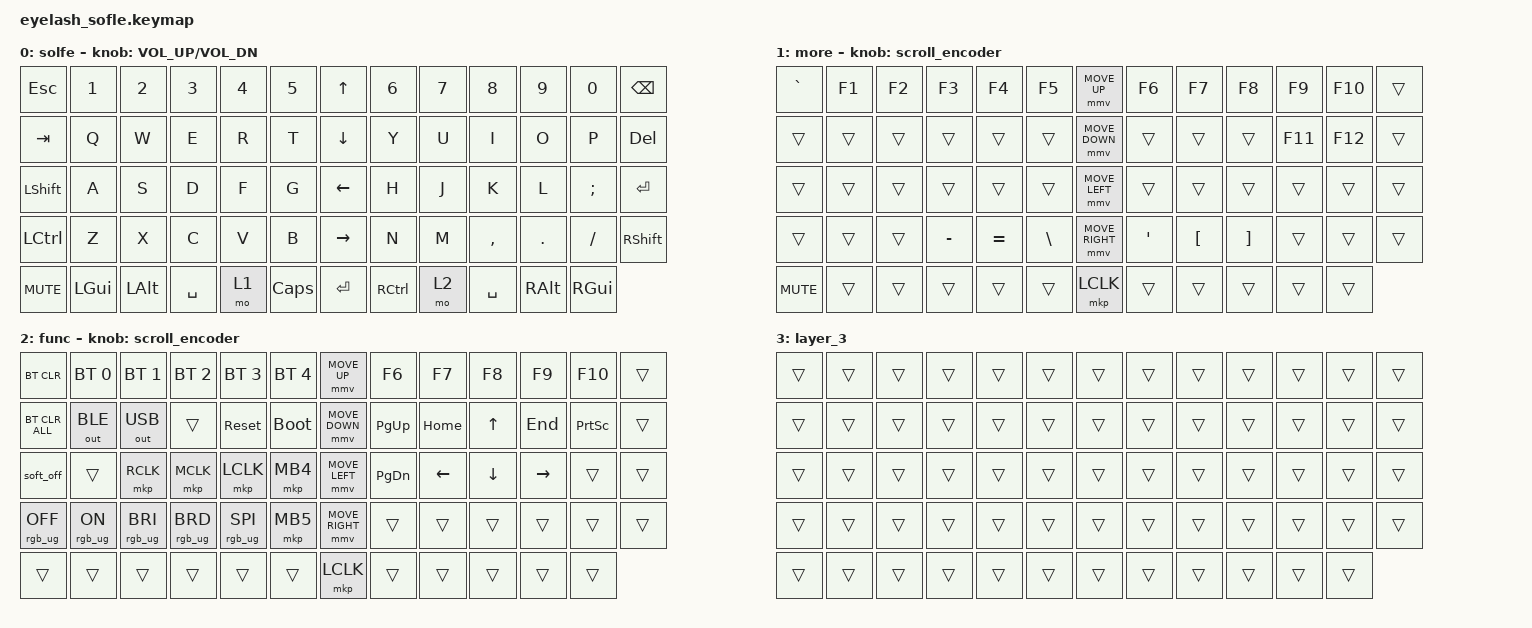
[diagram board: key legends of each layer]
#define ZMK_POINTING_DEFAULT_MOVE_VAL 1200  // 600
#define ZMK_POINTING_DEFAULT_SCRL_VAL 25   // 10

#include <input/processors.dtsi>
#include <zephyr/dt-bindings/input/input-event-codes.h>
#include <behaviors.dtsi>
#include <dt-bindings/zmk/bt.h>
#include <dt-bindings/zmk/ext_power.h>
#include <dt-bindings/zmk/keys.h>
#include <dt-bindings/zmk/pointing.h>
#include <dt-bindings/zmk/rgb.h>
#include <dt-bindings/zmk/outputs.h>

&mmv_input_listener { input-processors = <&zip_xy_scaler 2 1>; };

&msc_input_listener { input-processors = <&zip_scroll_scaler 2 1>; };

&msc {
    acceleration-exponent = <1>;      // 0
    time-to-max-speed-ms = <100>;       // 300
    delay-ms = <0>;                   // 0
};

&mmv {
    time-to-max-speed-ms = <500>;
    acceleration-exponent = <1>;
    trigger-period-ms = <16>;
};


/ {

    scroll_encoder: scroll_encoder {
        compatible = "zmk,behavior-sensor-rotate";
        #sensor-binding-cells = <0>;
        bindings = <&msc SCRL_DOWN>, <&msc SCRL_UP>;
        tap-ms = <100>;
    };

    keymap {
        compatible = "zmk,keymap";

        layer0 {
            bindings = <
&kp ESC    &kp N1   &kp N2   &kp N3    &kp N4 &kp N5   &kp UP_ARROW    &kp N6    &kp N7 &kp N8    &kp N9   &kp N0   &kp BACKSPACE
&kp TAB    &kp Q    &kp W    &kp E     &kp R  &kp T    &kp DOWN_ARROW  &kp Y     &kp U  &kp I     &kp O    &kp P    &kp DELETE
&kp LSHIFT &kp A    &kp S    &kp D     &kp F  &kp G    &kp LEFT_ARROW  &kp H     &kp J  &kp K     &kp L    &kp SEMI &kp ENTER
&kp LCTRL  &kp Z    &kp X    &kp C     &kp V  &kp B    &kp RIGHT_ARROW &kp N     &kp M  &kp COMMA &kp DOT  &kp FSLH &kp RSHIFT
&kp C_MUTE &kp LGUI &kp LALT &kp SPACE &mo 1  &kp CAPS &kp ENTER       &kp RCTRL &mo 2  &kp SPACE &kp RALT &kp RGUI
            >;

            sensor-bindings = <&inc_dec_kp C_VOLUME_UP C_VOL_DN>;
            display-name = "solfe";
        };

        layer_1 {
            bindings = <
&kp GRAVE  &kp F1 &kp F2 &kp F3    &kp F4    &kp F5   &mmv MOVE_UP    &kp F6   &kp F7   &kp F8   &kp F9  &kp F10 &trans
&trans     &trans &trans &trans    &trans    &trans   &mmv MOVE_DOWN  &trans   &trans   &trans   &kp F11 &kp F12 &trans
&trans     &trans &trans &trans    &trans    &trans   &mmv MOVE_LEFT  &trans   &trans   &trans   &trans  &trans  &trans
&trans     &trans &trans &kp MINUS &kp EQUAL &kp BSLH &mmv MOVE_RIGHT &kp APOS &kp LBKT &kp RBKT &trans  &trans  &trans
&kp C_MUTE &trans &trans &trans    &trans    &trans   &mkp LCLK       &trans   &trans   &trans   &trans  &trans
            >;

            display-name = "more";
            sensor-bindings = <&scroll_encoder>;
        };

        layer_2 {
            bindings = <
&bt BT_CLR      &bt BT_SEL 0   &bt BT_SEL 1    &bt BT_SEL 2    &bt BT_SEL 3    &bt BT_SEL 4 &mmv MOVE_UP    &kp F6    &kp F7   &kp F8   &kp F9    &kp F10   &trans
&bt BT_CLR_ALL  &out OUT_BLE   &out OUT_USB    &trans          &sys_reset      &bootloader  &mmv MOVE_DOWN  &kp PG_UP &kp HOME &kp UP   &kp END   &kp PSCRN &trans
&soft_off       &trans         &mkp RCLK       &mkp MCLK       &mkp LCLK       &mkp MB4     &mmv MOVE_LEFT  &kp PG_DN &kp LEFT &kp DOWN &kp RIGHT &trans    &trans
&rgb_ug RGB_OFF &rgb_ug RGB_ON &rgb_ug RGB_BRI &rgb_ug RGB_BRD &rgb_ug RGB_SPI &mkp MB5     &mmv MOVE_RIGHT &trans    &trans   &trans   &trans    &trans    &trans
&trans          &trans         &trans          &trans          &trans          &trans       &mkp LCLK       &trans    &trans   &trans   &trans    &trans
            >;

            display-name = "func";
            sensor-bindings = <&scroll_encoder>;
        };

        layer_3 {
            bindings = <
&trans  &trans  &trans  &trans  &trans  &trans    &trans  &trans  &trans  &trans  &trans  &trans  &trans
&trans  &trans  &trans  &trans  &trans  &trans    &trans  &trans  &trans  &trans  &trans  &trans  &trans
&trans  &trans  &trans  &trans  &trans  &trans    &trans  &trans  &trans  &trans  &trans  &trans  &trans
&trans  &trans  &trans  &trans  &trans  &trans    &trans  &trans  &trans  &trans  &trans  &trans  &trans
&trans  &trans  &trans  &trans  &trans  &trans    &trans  &trans  &trans  &trans  &trans  &trans
            >;
        };
    };
};
